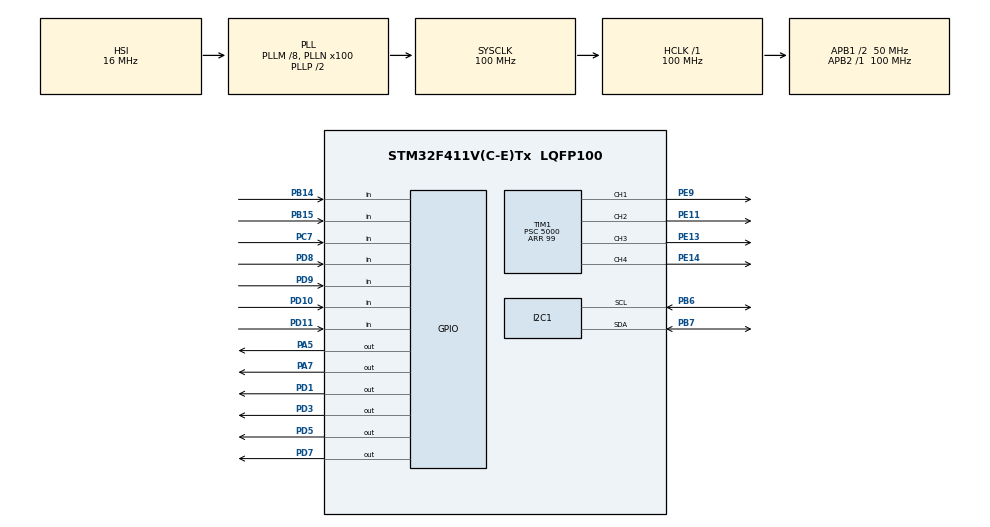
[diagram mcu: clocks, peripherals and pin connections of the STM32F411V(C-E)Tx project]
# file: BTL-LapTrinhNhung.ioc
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FREERTOS.Tasks01=defaultTask,0,128,StartDefaultTask,Default,NULL,Dynamic,NULL,NULL
Mcu.Family=STM32F4
Mcu.Name=STM32F411V(C-E)Tx
Mcu.Package=LQFP100
NVIC.PriorityGroup=NVIC_PRIORITYGROUP_4
PA13.Mode=Serial_Wire
PA13.Signal=SYS_JTMS-SWDIO
PA14.Mode=Serial_Wire
PA14.Signal=SYS_JTCK-SWCLK
PA5.Signal=GPIO_Output
PA7.Signal=GPIO_Output
PB14.Signal=GPIO_Input
PB15.Signal=GPIO_Input
PB6.Mode=I2C
PB6.Signal=I2C1_SCL
PB7.Mode=I2C
PB7.Signal=I2C1_SDA
PC7.Signal=GPIO_Input
PD1.Signal=GPIO_Output
PD10.Signal=GPIO_Input
PD11.Signal=GPIO_Input
PD3.Signal=GPIO_Output
PD5.Signal=GPIO_Output
PD7.Signal=GPIO_Output
PD8.Signal=GPIO_Input
PD9.Signal=GPIO_Input
PE11.Signal=S_TIM1_CH2
PE13.Signal=S_TIM1_CH3
PE14.Signal=S_TIM1_CH4
PE9.Signal=S_TIM1_CH1
PH0\ -\ OSC_IN.Mode=HSE-External-Oscillator
PH0\ -\ OSC_IN.Signal=RCC_OSC_IN
PH1\ -\ OSC_OUT.Mode=HSE-External-Oscillator
PH1\ -\ OSC_OUT.Signal=RCC_OSC_OUT
ProjectManager.HeapSize=0x200
ProjectManager.StackSize=0x400
ProjectManager.TargetToolchain=STM32CubeIDE
RCC.48MHZClocksFreq_Value=50000000
RCC.AHBFreq_Value=100000000
RCC.APB1CLKDivider=RCC_HCLK_DIV2
RCC.APB1Freq_Value=50000000
RCC.APB1TimFreq_Value=100000000
RCC.APB2Freq_Value=100000000
RCC.APB2TimFreq_Value=100000000
RCC.CortexFreq_Value=100000000
RCC.HCLKFreq_Value=100000000
RCC.HSE_VALUE=25000000
RCC.HSI_VALUE=16000000
RCC.LSE_VALUE=32768
RCC.PLLM=8
RCC.PLLN=100
RCC.SYSCLKFreq_VALUE=100000000
RCC.SYSCLKSource=RCC_SYSCLKSOURCE_PLLCLK
RCC.VCOOutputFreq_Value=200000000
SH.S_TIM1_CH1.0=TIM1_CH1,PWM Generation1 CH1
SH.S_TIM1_CH2.0=TIM1_CH2,PWM Generation2 CH2
SH.S_TIM1_CH3.0=TIM1_CH3,PWM Generation3 CH3
SH.S_TIM1_CH4.0=TIM1_CH4,PWM Generation4 CH4
TIM1.Channel-PWM\ Generation1\ CH1=TIM_CHANNEL_1
TIM1.Channel-PWM\ Generation2\ CH2=TIM_CHANNEL_2
TIM1.Channel-PWM\ Generation3\ CH3=TIM_CHANNEL_3
TIM1.Channel-PWM\ Generation4\ CH4=TIM_CHANNEL_4
TIM1.Period=99
TIM1.Prescaler=5000
VP_FREERTOS_VS_CMSIS_V1.Mode=CMSIS_V1
VP_TIM1_VS_ClockSourceINT.Mode=Internal
board=custom

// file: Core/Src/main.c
/* USER CODE BEGIN Header */
/**
  ******************************************************************************
  * @file           : main.c
  * @brief          : Main program body
  ******************************************************************************
  * @attention
  *
  * Copyright (c) 2022 STMicroelectronics.
  * All rights reserved.
  *
  * This software is licensed under terms that can be found in the LICENSE file
  * in the root directory of this software component.
  * If no LICENSE file comes with this software, it is provided AS-IS.
  *
  ******************************************************************************
  */
/* USER CODE END Header */
#include "main.h"
#include "FreeRTOS.h"
#include "task.h"
#include "FreeRTOSConfig.h"
#include "semphr.h"
#include "queue.h"
#include "i2c-lcd.h"
#include <stdio.h>
#include <string.h>

 I2C_HandleTypeDef hi2c1;

TIM_HandleTypeDef htim1;

//osThreadId defaultTaskHandle;

void SystemClock_Config(void);
static void MX_GPIO_Init(void);
static void MX_I2C1_Init(void);
static void MX_TIM1_Init(void);
void StartDefaultTask(void const * argument);

/* USER CODE BEGIN 0 */
static void taskreadbutton(void *pvParameters);
static void off_moto1(void *pvParameters);
static void tang_moto1(void *pvParameters);
static void giam_moto1(void *pvParameters);
static void off_moto2(void *pvParameters);
static void tang_moto2(void *pvParameters);
static void giam_moto2(void *pvParameters);
static xSemaphoreHandle xButton1Semphore=NULL;
static xSemaphoreHandle xButton2Semphore=NULL;
static xSemaphoreHandle xButton3Semphore=NULL;
static xSemaphoreHandle xButton4Semphore=NULL;
static xSemaphoreHandle xButton5Semphore=NULL;
static xSemaphoreHandle xButton6Semphore=NULL;
int nhannut1(void);
int nhannut2(void);
int nhannut3(void);
int nhannut4(void);
int nhannut5(void);
int nhannut6(void);
int duty1=0;
int duty2=0;
/* USER CODE END 0 */

int main(void)
{

  /* MCU Configuration--------------------------------------------------------*/

  /* Reset of all peripherals, Initializes the Flash interface and the Systick. */
  HAL_Init();

  /* Configure the system clock */
  SystemClock_Config();

  /* Initialize all configured peripherals */
  MX_GPIO_Init();
  MX_I2C1_Init();
  MX_TIM1_Init();
  /* USER CODE BEGIN 2 */
  lcd_init();
	lcd_put_cur(0,1);
  lcd_send_string("Hello Everyone");
  HAL_Delay(2000);
  lcd_clear ();
	lcd_put_cur(0,5);
  lcd_send_string("DH-BK");
	lcd_put_cur(1,2);
lcd_send_string("Demo - Nhom 4");
  HAL_Delay(2000);
  lcd_clear ();
  HAL_TIM_PWM_Start(&htim1,TIM_CHANNEL_1);
  HAL_TIM_PWM_Start(&htim1,TIM_CHANNEL_2);
  HAL_TIM_PWM_Start(&htim1,TIM_CHANNEL_3);
  HAL_TIM_PWM_Start(&htim1,TIM_CHANNEL_4);
  HAL_GPIO_WritePin(GPIOA,GPIO_PIN_5,GPIO_PIN_SET);
  HAL_GPIO_WritePin(GPIOA,GPIO_PIN_7,GPIO_PIN_SET);
	__HAL_TIM_SetCompare(&htim1,TIM_CHANNEL_2,0);
	__HAL_TIM_SetCompare(&htim1,TIM_CHANNEL_3,0);
  xTaskCreate(taskreadbutton,"readbutton", 256, NULL, 0, NULL );
  xTaskCreate(off_moto1,"Led1", 128, NULL, 0, NULL );
  xTaskCreate(tang_moto1,"Led2", 128, NULL, 0, NULL );
  xTaskCreate(giam_moto1,"Led2", 128, NULL, 0, NULL );
  xTaskCreate(off_moto2,"Led3", 128, NULL, 0, NULL );
  xTaskCreate(tang_moto2,"Led4", 128, NULL, 0, NULL );
  xTaskCreate(giam_moto2,"Led4", 128, NULL, 0, NULL );
  vTaskStartScheduler();
  /* USER CODE END 2 */

  /* Create the thread(s) */
  /* definition and creation of defaultTask */
//  osThreadDef(defaultTask, StartDefaultTask, osPriorityNormal, 0, 128);
//  defaultTaskHandle = osThreadCreate(osThread(defaultTask), NULL);

  /* Start scheduler */
//  osKernelStart();

  /* We should never get here as control is now taken by the scheduler */
  /* Infinite loop */
  while (1)
  {

  }
}

void SystemClock_Config(void)
{
  RCC_OscInitTypeDef RCC_OscInitStruct = {0};
  RCC_ClkInitTypeDef RCC_ClkInitStruct = {0};

  /** Configure the main internal regulator output voltage
  */
  __HAL_RCC_PWR_CLK_ENABLE();
  __HAL_PWR_VOLTAGESCALING_CONFIG(PWR_REGULATOR_VOLTAGE_SCALE1);

  /** Initializes the RCC Oscillators according to the specified parameters
  * in the RCC_OscInitTypeDef structure.
  */
  RCC_OscInitStruct.OscillatorType = RCC_OSCILLATORTYPE_HSI;
  RCC_OscInitStruct.HSIState = RCC_HSI_ON;
  RCC_OscInitStruct.HSICalibrationValue = RCC_HSICALIBRATION_DEFAULT;
  RCC_OscInitStruct.PLL.PLLState = RCC_PLL_ON;
  RCC_OscInitStruct.PLL.PLLSource = RCC_PLLSOURCE_HSI;
  RCC_OscInitStruct.PLL.PLLM = 8;
  RCC_OscInitStruct.PLL.PLLN = 100;
  RCC_OscInitStruct.PLL.PLLP = RCC_PLLP_DIV2;
  RCC_OscInitStruct.PLL.PLLQ = 4;
  if (HAL_RCC_OscConfig(&RCC_OscInitStruct) != HAL_OK)
  {
    Error_Handler();
  }

  /** Initializes the CPU, AHB and APB buses clocks
  */
  RCC_ClkInitStruct.ClockType = RCC_CLOCKTYPE_HCLK|RCC_CLOCKTYPE_SYSCLK
                              |RCC_CLOCKTYPE_PCLK1|RCC_CLOCKTYPE_PCLK2;
  RCC_ClkInitStruct.SYSCLKSource = RCC_SYSCLKSOURCE_PLLCLK;
  RCC_ClkInitStruct.AHBCLKDivider = RCC_SYSCLK_DIV1;
  RCC_ClkInitStruct.APB1CLKDivider = RCC_HCLK_DIV2;
  RCC_ClkInitStruct.APB2CLKDivider = RCC_HCLK_DIV1;

  if (HAL_RCC_ClockConfig(&RCC_ClkInitStruct, FLASH_LATENCY_3) != HAL_OK)
  {
    Error_Handler();
  }
}

static void MX_I2C1_Init(void)
{

  hi2c1.Instance = I2C1;
  hi2c1.Init.ClockSpeed = 100000;
  hi2c1.Init.DutyCycle = I2C_DUTYCYCLE_2;
  hi2c1.Init.OwnAddress1 = 0;
  hi2c1.Init.AddressingMode = I2C_ADDRESSINGMODE_7BIT;
  hi2c1.Init.DualAddressMode = I2C_DUALADDRESS_DISABLE;
  hi2c1.Init.OwnAddress2 = 0;
  hi2c1.Init.GeneralCallMode = I2C_GENERALCALL_DISABLE;
  hi2c1.Init.NoStretchMode = I2C_NOSTRETCH_DISABLE;
  if (HAL_I2C_Init(&hi2c1) != HAL_OK)
  {
    Error_Handler();
  }

}

static void MX_TIM1_Init(void)
{

  TIM_ClockConfigTypeDef sClockSourceConfig = {0};
  TIM_MasterConfigTypeDef sMasterConfig = {0};
  TIM_OC_InitTypeDef sConfigOC = {0};
  TIM_BreakDeadTimeConfigTypeDef sBreakDeadTimeConfig = {0};

  htim1.Instance = TIM1;
  htim1.Init.Prescaler = 5000;
  htim1.Init.CounterMode = TIM_COUNTERMODE_UP;
  htim1.Init.Period = 99;
  htim1.Init.ClockDivision = TIM_CLOCKDIVISION_DIV1;
  htim1.Init.RepetitionCounter = 0;
  htim1.Init.AutoReloadPreload = TIM_AUTORELOAD_PRELOAD_DISABLE;
  if (HAL_TIM_Base_Init(&htim1) != HAL_OK)
  {
    Error_Handler();
  }
  sClockSourceConfig.ClockSource = TIM_CLOCKSOURCE_INTERNAL;
  if (HAL_TIM_ConfigClockSource(&htim1, &sClockSourceConfig) != HAL_OK)
  {
    Error_Handler();
  }
  if (HAL_TIM_PWM_Init(&htim1) != HAL_OK)
  {
    Error_Handler();
  }
  sMasterConfig.MasterOutputTrigger = TIM_TRGO_RESET;
  sMasterConfig.MasterSlaveMode = TIM_MASTERSLAVEMODE_DISABLE;
  if (HAL_TIMEx_MasterConfigSynchronization(&htim1, &sMasterConfig) != HAL_OK)
  {
    Error_Handler();
  }
  sConfigOC.OCMode = TIM_OCMODE_PWM1;
  sConfigOC.Pulse = 0;
  sConfigOC.OCPolarity = TIM_OCPOLARITY_HIGH;
  sConfigOC.OCNPolarity = TIM_OCNPOLARITY_HIGH;
  sConfigOC.OCFastMode = TIM_OCFAST_DISABLE;
  sConfigOC.OCIdleState = TIM_OCIDLESTATE_RESET;
  sConfigOC.OCNIdleState = TIM_OCNIDLESTATE_RESET;
  if (HAL_TIM_PWM_ConfigChannel(&htim1, &sConfigOC, TIM_CHANNEL_1) != HAL_OK)
  {
    Error_Handler();
  }
  if (HAL_TIM_PWM_ConfigChannel(&htim1, &sConfigOC, TIM_CHANNEL_2) != HAL_OK)
  {
    Error_Handler();
  }
  if (HAL_TIM_PWM_ConfigChannel(&htim1, &sConfigOC, TIM_CHANNEL_3) != HAL_OK)
  {
    Error_Handler();
  }
  if (HAL_TIM_PWM_ConfigChannel(&htim1, &sConfigOC, TIM_CHANNEL_4) != HAL_OK)
  {
    Error_Handler();
  }
  sBreakDeadTimeConfig.OffStateRunMode = TIM_OSSR_DISABLE;
  sBreakDeadTimeConfig.OffStateIDLEMode = TIM_OSSI_DISABLE;
  sBreakDeadTimeConfig.LockLevel = TIM_LOCKLEVEL_OFF;
  sBreakDeadTimeConfig.DeadTime = 0;
  sBreakDeadTimeConfig.BreakState = TIM_BREAK_DISABLE;
  sBreakDeadTimeConfig.BreakPolarity = TIM_BREAKPOLARITY_HIGH;
  sBreakDeadTimeConfig.AutomaticOutput = TIM_AUTOMATICOUTPUT_DISABLE;
  if (HAL_TIMEx_ConfigBreakDeadTime(&htim1, &sBreakDeadTimeConfig) != HAL_OK)
  {
    Error_Handler();
  }
  HAL_TIM_MspPostInit(&htim1);

}

static void MX_GPIO_Init(void)
{
  GPIO_InitTypeDef GPIO_InitStruct = {0};

  /* GPIO Ports Clock Enable */
  __HAL_RCC_GPIOH_CLK_ENABLE();
  __HAL_RCC_GPIOA_CLK_ENABLE();
  __HAL_RCC_GPIOE_CLK_ENABLE();
  __HAL_RCC_GPIOB_CLK_ENABLE();
  __HAL_RCC_GPIOD_CLK_ENABLE();
  __HAL_RCC_GPIOC_CLK_ENABLE();

  /*Configure GPIO pin Output Level */
  HAL_GPIO_WritePin(GPIOA, GPIO_PIN_5|GPIO_PIN_7, GPIO_PIN_RESET);

  /*Configure GPIO pin Output Level */
  HAL_GPIO_WritePin(GPIOD, GPIO_PIN_1|GPIO_PIN_3|GPIO_PIN_5|GPIO_PIN_7, GPIO_PIN_RESET);

  /*Configure GPIO pins : PA5 PA7 */
  GPIO_InitStruct.Pin = GPIO_PIN_5|GPIO_PIN_7;
  GPIO_InitStruct.Mode = GPIO_MODE_OUTPUT_PP;
  GPIO_InitStruct.Pull = GPIO_NOPULL;
  GPIO_InitStruct.Speed = GPIO_SPEED_FREQ_HIGH;
  HAL_GPIO_Init(GPIOA, &GPIO_InitStruct);

  /*Configure GPIO pins : PB14 PB15 */
  GPIO_InitStruct.Pin = GPIO_PIN_14|GPIO_PIN_15;
  GPIO_InitStruct.Mode = GPIO_MODE_INPUT;
  GPIO_InitStruct.Pull = GPIO_NOPULL;
  HAL_GPIO_Init(GPIOB, &GPIO_InitStruct);

  /*Configure GPIO pins : PD8 PD9 PD10 PD11 */
  GPIO_InitStruct.Pin = GPIO_PIN_8|GPIO_PIN_9|GPIO_PIN_10|GPIO_PIN_11;
  GPIO_InitStruct.Mode = GPIO_MODE_INPUT;
  GPIO_InitStruct.Pull = GPIO_NOPULL;
  HAL_GPIO_Init(GPIOD, &GPIO_InitStruct);

  /*Configure GPIO pin : PC7 */
  GPIO_InitStruct.Pin = GPIO_PIN_7;
  GPIO_InitStruct.Mode = GPIO_MODE_INPUT;
  GPIO_InitStruct.Pull = GPIO_NOPULL;
  HAL_GPIO_Init(GPIOC, &GPIO_InitStruct);

  /*Configure GPIO pins : PD1 PD3 PD5 PD7 */
  GPIO_InitStruct.Pin = GPIO_PIN_1|GPIO_PIN_3|GPIO_PIN_5|GPIO_PIN_7;
  GPIO_InitStruct.Mode = GPIO_MODE_OUTPUT_PP;
  GPIO_InitStruct.Pull = GPIO_NOPULL;
  GPIO_InitStruct.Speed = GPIO_SPEED_FREQ_LOW;
  HAL_GPIO_Init(GPIOD, &GPIO_InitStruct);

}

/* USER CODE BEGIN 4 */
int nhannut1(){
    if(HAL_GPIO_ReadPin(GPIOB, GPIO_PIN_14)==1) {
      HAL_Delay(20);        //delay chong rung phim
      if (HAL_GPIO_ReadPin(GPIOB, GPIO_PIN_14)==1){
        while (HAL_GPIO_ReadPin(GPIOB, GPIO_PIN_14)==1);//cho phim nha
        return 1;//nut START
        }
     }
     return 0;
}
int nhannut2(){
	if(HAL_GPIO_ReadPin(GPIOB, GPIO_PIN_15)==1) {
	      HAL_Delay(20);        //delay chong rung phim
	      if (HAL_GPIO_ReadPin(GPIOB, GPIO_PIN_15)==1){
	        while (HAL_GPIO_ReadPin(GPIOB, GPIO_PIN_15)==1);//cho phim nha
	        return 1;//nut START
        }
     }
     return 0;
}
int nhannut3(){
    if(HAL_GPIO_ReadPin(GPIOD, GPIO_PIN_8)==1) {
      HAL_Delay(20);        //delay chong rung phim
      if (HAL_GPIO_ReadPin(GPIOD, GPIO_PIN_8)==1){
        while (HAL_GPIO_ReadPin(GPIOD, GPIO_PIN_8)==1);//cho phim nha
        return 1;//nut START
        }
     }
     return 0;
}
int nhannut4(){
    if(HAL_GPIO_ReadPin(GPIOD, GPIO_PIN_9)==1) {
      HAL_Delay(20);        //delay chong rung phim
      if (HAL_GPIO_ReadPin(GPIOD, GPIO_PIN_9)==1){
        while (HAL_GPIO_ReadPin(GPIOD, GPIO_PIN_9)==1);//cho phim nha
        return 1;//nut START
        }
     }
     return 0;
}
int nhannut5(){
    if(HAL_GPIO_ReadPin(GPIOD, GPIO_PIN_10)==1) {
      HAL_Delay(20);        //delay chong rung phim
      if (HAL_GPIO_ReadPin(GPIOD, GPIO_PIN_10)==1){
        while (HAL_GPIO_ReadPin(GPIOD, GPIO_PIN_10)==1);//cho phim nha
        return 1;//nut START
        }
     }
     return 0;
}
int nhannut6(){
    if(HAL_GPIO_ReadPin(GPIOD, GPIO_PIN_11)==1) {
      HAL_Delay(20);        //delay chong rung phim
      if (HAL_GPIO_ReadPin(GPIOD, GPIO_PIN_11)==1){
        while (HAL_GPIO_ReadPin(GPIOD, GPIO_PIN_11)==1);//cho phim nha
        return 1;//nut START
        }
     }
     return 0;
}
static void taskreadbutton(void *pvParameters)
{
const unsigned char Frequency = 40; //20ms
vSemaphoreCreateBinary(xButton1Semphore);
if(xButton1Semphore!= NULL)
{
 xSemaphoreTake(xButton1Semphore,(portTickType)1);
}
vSemaphoreCreateBinary(xButton2Semphore);
if(xButton2Semphore!= NULL)
{
 xSemaphoreTake(xButton2Semphore,(portTickType)1);
}
vSemaphoreCreateBinary(xButton3Semphore);
if(xButton3Semphore!= NULL)
{
 xSemaphoreTake(xButton3Semphore,(portTickType)1);
}

vSemaphoreCreateBinary(xButton4Semphore);
if(xButton4Semphore!= NULL)
{
 xSemaphoreTake(xButton4Semphore,(portTickType)1);
}

vSemaphoreCreateBinary(xButton5Semphore);
if(xButton5Semphore!= NULL)
{
 xSemaphoreTake(xButton5Semphore,(portTickType)1);
}

vSemaphoreCreateBinary(xButton6Semphore);
if(xButton6Semphore!= NULL)
{
 xSemaphoreTake(xButton6Semphore,(portTickType)1);
}
while(1)
{
	if(nhannut1()==1){
		xSemaphoreGive(xButton1Semphore);
	}
	if(nhannut2()==1){
		xSemaphoreGive(xButton2Semphore);
	}
	if(nhannut3()==1){
		xSemaphoreGive(xButton3Semphore);
	}
	if(nhannut4()==1){
		xSemaphoreGive(xButton4Semphore);
	}
	if(nhannut5()==1){
		xSemaphoreGive(xButton5Semphore);
	}
	if(nhannut6()==1){
		xSemaphoreGive(xButton6Semphore);
	}
 vTaskDelay(Frequency);
 }
}
static void off_moto1(void *pvParameters){
while(1){
		if(xButton2Semphore != NULL){
		if(xSemaphoreTake(xButton2Semphore,((portTickType)1)==pdTRUE)){
			HAL_GPIO_WritePin(GPIOD,GPIO_PIN_1,0);
			HAL_GPIO_WritePin(GPIOD,GPIO_PIN_3,1);
			duty1 =0;
			lcd_put_cur(0,0);
			lcd_send_string("moto1 : dang off");
			__HAL_TIM_SetCompare(&htim1,TIM_CHANNEL_1,0);
			}
		}
		vTaskDelay(20);
	}
}
static void tang_moto1(void *pvParameters){

	char buffer[20];
while(1){
		if(xButton1Semphore != NULL){
			if(xSemaphoreTake(xButton1Semphore,((portTickType)1)==pdTRUE)){
				HAL_GPIO_WritePin(GPIOD,GPIO_PIN_1,1);
				HAL_GPIO_WritePin(GPIOD,GPIO_PIN_3,0);
			duty1 += 33;
//			lcd_clear();
			lcd_put_cur(0,0);
			if (duty1>99) duty1=99;
			sprintf(buffer,"speed moto1: %d%%",duty1);
			lcd_send_string(buffer);
				__HAL_TIM_SetCompare(&htim1,TIM_CHANNEL_1,duty1);
			}
		}
		vTaskDelay(20);
	}
}
static void giam_moto1(void *pvParameters){
	char buffer[20];
while(1){
		if(xButton3Semphore != NULL){
			if(xSemaphoreTake(xButton3Semphore,((portTickType)1)==pdTRUE)){
			duty1 -= 33;
			lcd_put_cur(0,0);
			if (duty1<=0)
			{	duty1=0;
			HAL_GPIO_WritePin(GPIOD,GPIO_PIN_1,0);
			HAL_GPIO_WritePin(GPIOD,GPIO_PIN_3,1);
				__HAL_TIM_SetCompare(&htim1,TIM_CHANNEL_1,duty1);
				lcd_send_string("moto1 : dang off");
			}
			else
			{
				sprintf(buffer,"speed moto1: %d%%",duty1);
				lcd_send_string(buffer);
				__HAL_TIM_SetCompare(&htim1,TIM_CHANNEL_1,duty1);
				HAL_GPIO_WritePin(GPIOD,GPIO_PIN_1,1);
				HAL_GPIO_WritePin(GPIOD,GPIO_PIN_3,0);
			}
			}
		}
		vTaskDelay(20);
	}
}
static void off_moto2(void *pvParameters){
while(1){
		if(xButton5Semphore != NULL){
		if(xSemaphoreTake(xButton5Semphore,((portTickType)1)==pdTRUE)){
			HAL_GPIO_WritePin(GPIOD,GPIO_PIN_7,1);
			HAL_GPIO_WritePin(GPIOD,GPIO_PIN_5,0);
			duty2 =0;
			lcd_put_cur(1,0);
			lcd_send_string("moto2 : dang off");
			__HAL_TIM_SetCompare(&htim1,TIM_CHANNEL_4,0);
			}
		}
		vTaskDelay(20);
	}
}
static void tang_moto2(void *pvParameters){

	char buffer[20];
while(1){
		if(xButton4Semphore != NULL){
			if(xSemaphoreTake(xButton4Semphore,((portTickType)1)==pdTRUE)){
				HAL_GPIO_WritePin(GPIOD,GPIO_PIN_5,1);
				HAL_GPIO_WritePin(GPIOD,GPIO_PIN_7,0);
			duty2 += 33;
			lcd_put_cur(1,0);
			if (duty2>99) duty2=99;
			sprintf(buffer,"speed moto2: %d%%",duty2);
			lcd_send_string(buffer);
				__HAL_TIM_SetCompare(&htim1,TIM_CHANNEL_4,duty2);
			}
		}
		vTaskDelay(20);
	}
}
static void giam_moto2(void *pvParameters){
	char buffer[20];
while(1){
		if(xButton6Semphore != NULL){
			if(xSemaphoreTake(xButton6Semphore,((portTickType)1)==pdTRUE)){

			duty2 -= 33;
			lcd_put_cur(1,0);
			if (duty2<=0)
			{	duty2=0;
			HAL_GPIO_WritePin(GPIOD,GPIO_PIN_7,1);
			HAL_GPIO_WritePin(GPIOD,GPIO_PIN_5,0);
				__HAL_TIM_SetCompare(&htim1,TIM_CHANNEL_4,duty2);
				lcd_send_string("moto2 : dang off");
			}
			else
			{
				HAL_GPIO_WritePin(GPIOD,GPIO_PIN_5,1);
				HAL_GPIO_WritePin(GPIOD,GPIO_PIN_7,0);
				lcd_put_cur(1,0);
				sprintf(buffer,"speed moto2: %d%%",duty2);
				lcd_send_string(buffer);
				__HAL_TIM_SetCompare(&htim1,TIM_CHANNEL_4,duty2);
			}
			}
		}
		vTaskDelay(20);
	}
}
/* USER CODE END 4 */

void StartDefaultTask(void const * argument)
{
  for(;;)
  {
    osDelay(1);
  }
}

void Error_Handler(void)
{
  __disable_irq();
  while (1)
  {
  }
}
